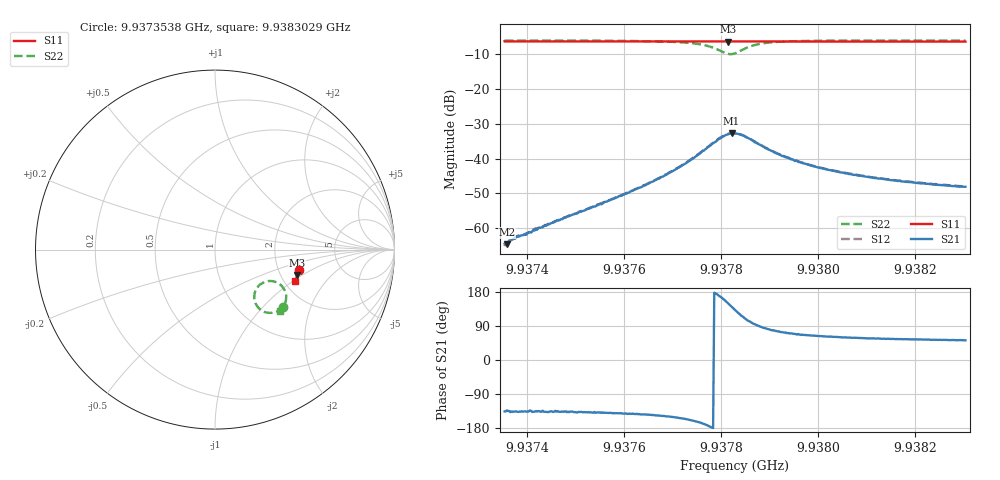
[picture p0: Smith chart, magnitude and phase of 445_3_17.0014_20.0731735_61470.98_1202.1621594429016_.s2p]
#  HZ  S  RI  R  50.00
! Rohde & Schwarz Vector Network Analyzer
! Rohde-Schwarz,ZNB20-2Port,1311601062101988,3.16
! Created: UTC 3/20/2024, 11:12:02 PM
! freq[Hz]  re:S11  im:S11  re:S21  im:S21  re:S12  im:S12  re:S22  im:S22
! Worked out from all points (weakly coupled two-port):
!   401 points, 9.9373538 GHz to 9.9383029 GHz, reference 50 ohm
!   highest |S21| = -32.79 dB at 9.9378212 GHz (marker M1); lowest = -64.6 dB at 9.9373586 GHz (marker M2)
!   lowest |S11| = -6.4 dB at 9.9378141 GHz (marker M3), VSWR 2.84, Z = 123 - j45 ohm
!   |S11| at or under -10 dB: nowhere
!   |S22| runs from -10.0 to -6.1 dB; largest |S21 - S12| = 0.00098
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9.93735382e9  0.4702 -0.1121  -0.000425 -0.000415  -0.00039 -0.000387  0.3809 -0.3203
9.93735857e9  0.4701 -0.1124  -0.000399 -0.000429  -0.000463 -0.000419  0.3804 -0.3206
9.93737992e9  0.4695 -0.1138  -0.000545 -0.000517  -0.00056 -0.000532  0.3785 -0.3221
9.93740127e9  0.4692 -0.1152  -0.000606 -0.000589  -0.000613 -0.000582  0.377 -0.3238
9.93741314e9  0.469 -0.1161  -0.000691 -0.000655  -0.000705 -0.00064  0.376 -0.3246
9.93751279e9  0.4666 -0.1227  -0.00128 -0.00119  -0.00134 -0.00119  0.3656 -0.3329
9.93760532e9  0.4646 -0.1289  -0.00246 -0.00196  -0.00253 -0.00196  0.3507 -0.3421
9.93767175e9  0.4629 -0.1333  -0.00428 -0.00284  -0.0044 -0.00278  0.3317 -0.3495
9.93772632e9  0.4613 -0.1372  -0.00772 -0.00349  -0.00796 -0.00342  0.3009 -0.3527
9.93776429e9  0.4597 -0.1397  -0.0127 -0.00256  -0.0132 -0.00235  0.2605 -0.3394
9.93778089e9  0.4589 -0.1405  -0.0161 -0.000351  -0.0163 -0.000135  0.2373 -0.3185
9.9377975e9  0.458 -0.141  -0.0189 0.0041  -0.0193 0.00477  0.2196 -0.2786
9.93781411e9  0.4572 -0.1415  -0.0192 0.0113  -0.0191 0.0119  0.2286 -0.2225
9.93782123e9  0.4574 -0.1415  -0.0177 0.0146  -0.0176 0.0151  0.2448 -0.2004
9.93782835e9  0.4576 -0.1415  -0.0153 0.017  -0.0152 0.0177  0.2672 -0.1846
9.93784733e9  0.4577 -0.1421  -0.00756 0.0196  -0.00711 0.02  0.3309 -0.1781
9.93787817e9  0.4581 -0.1445  0.000191 0.0159  0.000614 0.0161  0.3844 -0.2191
9.93793037e9  0.457 -0.1484  0.0032 0.0101  0.00347 0.0102  0.3964 -0.2712
9.93798731e9  0.4558 -0.1522  0.00337 0.00707  0.00355 0.00712  0.3905 -0.2976
9.93806798e9  0.4538 -0.1578  0.00308 0.00509  0.00321 0.00509  0.3811 -0.3166
9.93814628e9  0.4518 -0.163  0.00277 0.00409  0.00288 0.00408  0.3736 -0.3274
9.93830287e9  0.4473 -0.173  0.00242 0.00309  0.00245 0.00307  0.361 -0.3416
